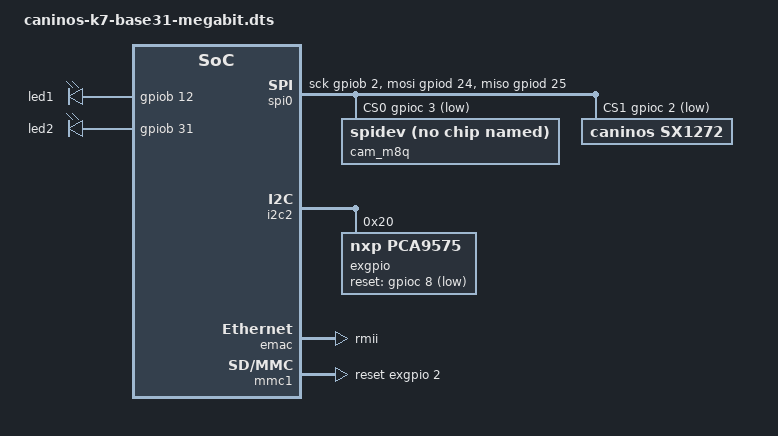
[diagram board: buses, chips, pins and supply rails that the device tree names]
// SPDX-License-Identifier: (GPL-2.0+ OR MIT)

/dts-v1/;
#include "caninos-k7.dtsi"


/ {
	chosen {
		stdout-path = "serial3:115200n8";
	};

	psci {
		compatible = "arm,psci-0.2";
		method = "smc";
	};

	cpus {
		cpu@0 {
			enable-method = "psci";
		};
		cpu@1 {
			enable-method = "psci";
		};
		cpu@2 {
			enable-method = "psci";
		};
		cpu@3 {
			enable-method = "psci";
		};
	};

	soc {
		
		leds {
			compatible = "gpio-leds";
			
			led@1 {
				label = "led1"; //LVDS_RXOC_P - GPIOB12
				gpios = <&gpiob 12 GPIO_ACTIVE_HIGH>;
				linux,default-trigger = "default-on";
				default-state = "ON";
			};
			
			led@2 {
				label = "led2"; //LCD0_D17 - GPIOB31
				gpios = <&gpiob 31 GPIO_ACTIVE_HIGH>;
				linux,default-trigger = "heartbeat";
				default-state = "ON";
			};
		};
	};

	spi0: spi-gpio {
		compatible = "spi-gpio";
		miso-gpios = <&gpiod 25 GPIO_ACTIVE_HIGH>;
		mosi-gpios = <&gpiod 24 GPIO_ACTIVE_HIGH>;
		sck-gpios  = <&gpiob 2  GPIO_ACTIVE_HIGH>; // B2 for core 3.3; C22 for core 3.2 & 2.2
		cs-gpios   = <&gpioc 3  GPIO_ACTIVE_LOW>,
					<&gpioc 2  GPIO_ACTIVE_LOW>;
		cs-num = <2>;

		#address-cells = <1>;
		#size-cells = <0>;

		max-speed = <100000>;

		cam_m8q: spi@0 {
			compatible = "linux,spidev";
			reg = <0>;
			// reset = <&exgpio 1 GPIO_ACTIVE_LOW>;
			// int = <&gpiob 30 GPIO_ACTIVE_HIGH>;
		};

		sx1272: spi@1 {
			compatible = "caninos,sx1272";
			reg = <1>;
			// reset = <&exgpio 0 GPIO_ACTIVE_LOW>;
			// dio0 = <&gpiob 11 GPIO_ACTIVE_HIGH>;
		};
	};
};


&i2c2 {
    exgpio: exgpio@20 {
        compatible = "nxp,pca9575";
        reg = <0x20>;
        gpio-controller;
        #gpio-cells = <2>;
        reset-gpios = <&gpioc 8 GPIO_ACTIVE_LOW>;
    };
};

&emac {
	phy-mode = "rmii";
	max-speed = <100>;

	phy-reset-gpio = <&exgpio 4 GPIO_ACTIVE_HIGH>;
};

&mmc1 {
    enable-gpios = <&exgpio 4 GPIO_ACTIVE_HIGH>;
    reset-gpios  = <&exgpio 2 GPIO_ACTIVE_HIGH>;
};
